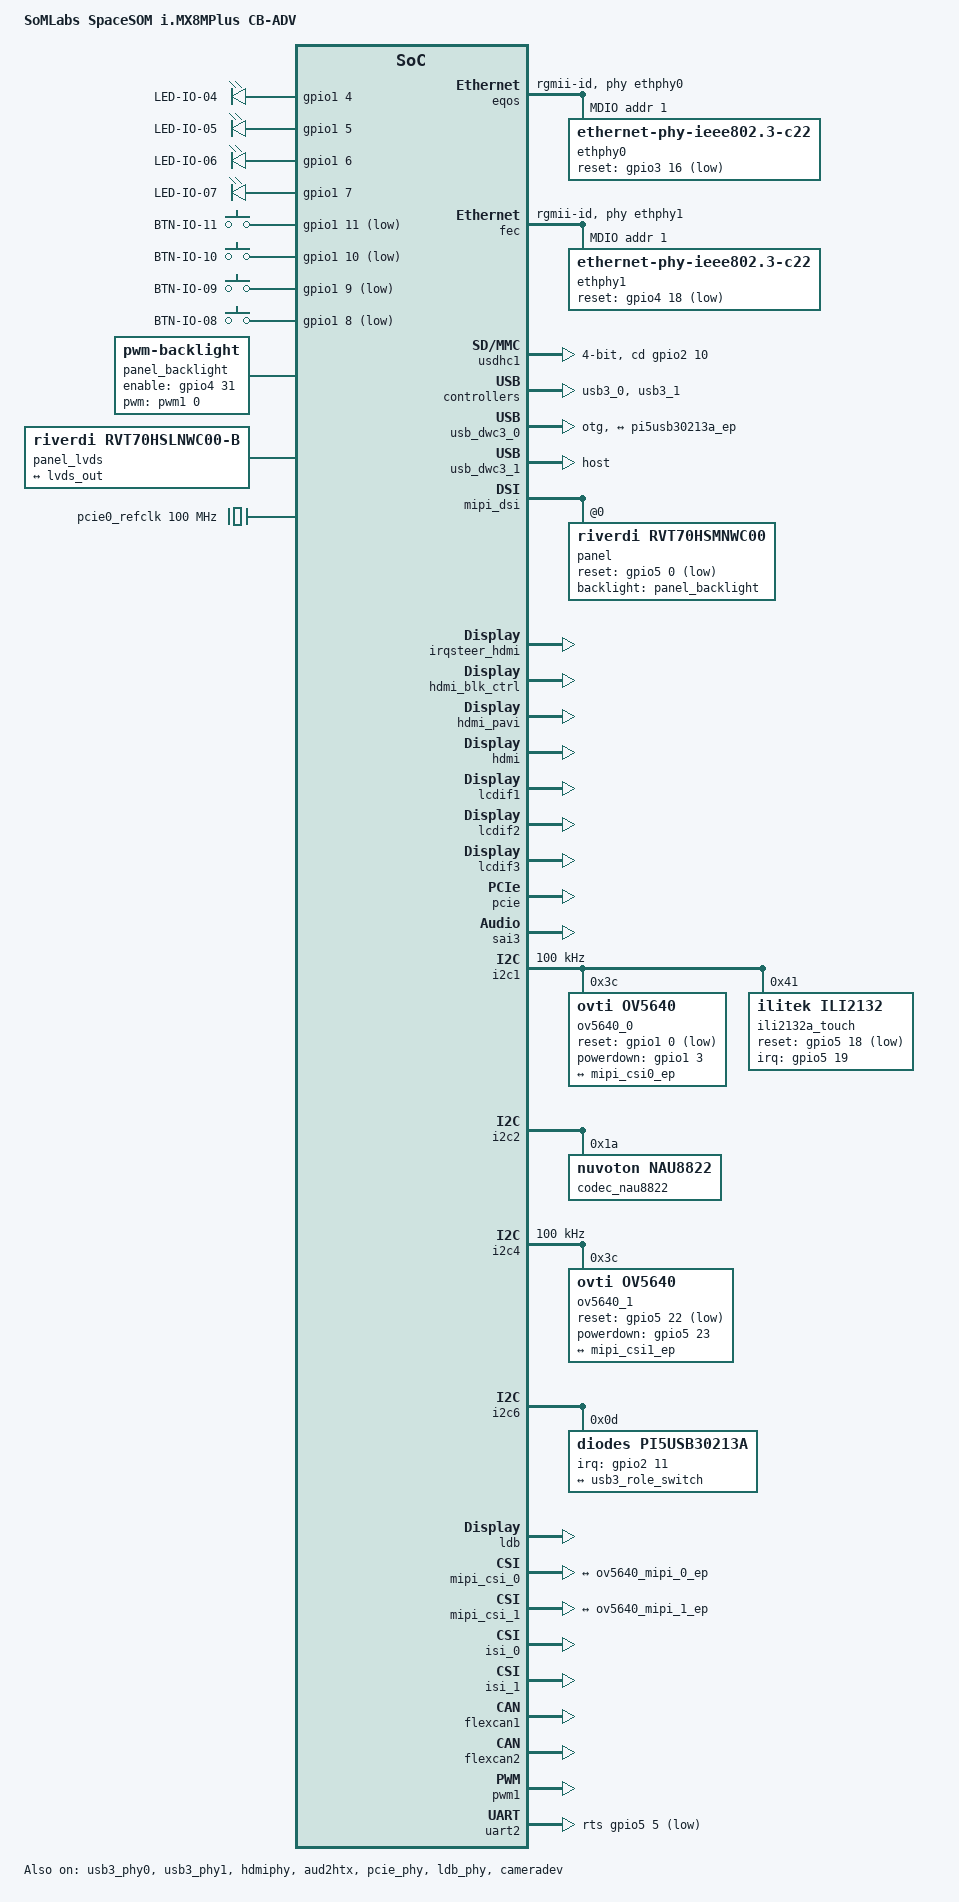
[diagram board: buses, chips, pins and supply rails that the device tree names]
// SPDX-License-Identifier: (GPL-2.0+ OR MIT)
/*
 * Copyright 2022 SomLabs
 *
 */

#include <dt-bindings/phy/phy-imx8-pcie.h>
#include <dt-bindings/pwm/pwm.h>

#include "spacesom-8mplus.dtsi"

/ {
        model = "SoMLabs SpaceSOM i.MX8MPlus CB-ADV";

        leds {
                pinctrl-0 = <&pinctrl_gpio_leds_cb>;

                led-io-04 {
                        label = "LED-IO-04";
                        gpios = <&gpio1 4 0>;
                        default-state = "off";
                };
                led-io-05 {
                        label = "LED-IO-05";
                        gpios = <&gpio1 5 0>;
                        default-state = "off";
                };
                led-io-06 {
                        label = "LED-IO-06";
                        gpios = <&gpio1 6 0>;
                        default-state = "off";
                };
                led-io-07 {
                        label = "LED-IO-07";
                        gpios = <&gpio1 7 0>;
                        default-state = "off";
                };
        };

        gpio_buttons: gpio_buttons0 {
                compatible = "gpio-keys";
                pinctrl-names = "default";
                pinctrl-0 = <&pinctrl_gpio_buttons_cb>;
                #address-cells = <1>;
                #size-cells = <0>;

                switch1 {
                        label = "BTN-IO-11";
                        linux,code = <0x100>;
                        gpios = <&gpio1 11 GPIO_ACTIVE_LOW>;
                };

                switch2 {
                        label = "BTN-IO-10";
                        linux,code = <0x101>;
                        gpios = <&gpio1 10 GPIO_ACTIVE_LOW>;
                };

                switch3 {
                        label = "BTN-IO-09";
                        linux,code = <0x102>;
                        gpios = <&gpio1 9 GPIO_ACTIVE_LOW>;
                        wakeup-source;
                };

                switch4 {
                        label = "BTN-IO-08";
                        linux,code = <0x103>;
                        gpios = <&gpio1 8 GPIO_ACTIVE_LOW>;
                };
        };

        panel_backlight: panel-backlight {
                compatible = "pwm-backlight";
                pinctrl-names = "default";
                pinctrl-0 = <&pinctrl_panel_backlight_en>;
                pwms = <&pwm1 0 25000 PWM_POLARITY_INVERTED>;

                brightness-levels = < 0  1  2  3  4  5  6  7  8  9
                                     10 11 12 13 14 15 16 17 18 19
                                     20 21 22 23 24 25 26 27 28 29
                                     30 31 32 33 34 35 36 37 38 39
                                     40 41 42 43 44 45 46 47 48 49
                                     50 51 52 53 54 55 56 57 58 59
                                     60 61 62 63 64 65 66 67 68 69
                                     70 71 72 73 74 75 76 77 78 79
                                     80 81 82 83 84 85 86 87 88 89
                                     90 91 92 93 94 95 96 97 98 99
                                     100>;
                default-brightness-level = <80>;

                enable-gpios = <&gpio4 31 0>;
        };

        panel_lvds {
                compatible = "riverdi,rvt70hslnwc00-b";
                port {
                        panel_lvds_in: endpoint {
                                remote-endpoint = <&lvds_out>;
                        };
                };
        };

        sound {
                /* generic sound card */
                compatible = "simple-audio-card";
                simple-audio-card,name = "nau8822";

                simple-audio-card,widgets =
                        "Headphones", "Headphones",
                        "Line Out", "Line Out",
                        "Speaker", "Speaker",
                        "Microphone", "Mic In";
                simple-audio-card,routing =
                        "Headphones", "LHP",
                        "Headphones", "RHP",
                        "Speaker", "LSPK",
                        "Speaker", "RSPK",
                        "Line Out", "AUXOUT1",
                        "Line Out", "AUXOUT2",
                        "LMICP",    "Mic In",
                        "RMICP",    "Mic In";

                simple-audio-card,format = "i2s";
                simple-audio-card,bitclock-master = <&dailink_master>;
                simple-audio-card,frame-master = <&dailink_master>;

                simple-audio-card,cpu {
                        sound-dai = <&sai3>;
                };

                dailink_master: simple-audio-card,codec {
                        sound-dai = <&codec_nau8822>;
                        clocks = <&audio_blk_ctrl IMX8MP_CLK_AUDIO_BLK_CTRL_SAI3_MCLK1>;
                        clock-names = "mclk";
                };
        };

        sound-hdmi {
                compatible = "fsl,imx-audio-cdnhdmi";
                model = "audio-hdmi";
                audio-cpu = <&aud2htx>;
                hdmi-out;
                constraint-rate = <44100>,
                                <88200>,
                                <176400>,
                                <32000>,
                                <48000>,
                                <96000>,
                                <192000>;
                status = "okay";
        };

        pcie0_refclk: pcie0-refclk {
                compatible = "fixed-clock";
                #clock-cells = <0>;
                clock-frequency = <100000000>;
        };
};

&eqos {
        pinctrl-names = "default";
        pinctrl-0 = <&pinctrl_eqos>;
        phy-int-gpios = <&gpio4 20 GPIO_ACTIVE_LOW>; /* GPIO4_20 */
        phy-mode = "rgmii-id";
        phy-handle = <&ethphy0>;
        snps,force_thresh_dma_mode;
        snps,mtl-tx-config = <&mtl_tx_setup>;
        snps,mtl-rx-config = <&mtl_rx_setup>;
        status = "okay";

        mdio {
                compatible = "snps,dwmac-mdio";
                #address-cells = <1>;
                #size-cells = <0>;

                ethphy0: ethernet-phy@1 {
                        compatible = "ethernet-phy-ieee802.3-c22";
                        reg = <1>;
                        eee-broken-1000t;
                        reset-gpios = <&gpio3 16 GPIO_ACTIVE_LOW>;
                        reset-assert-us = <10000>;
                        reset-deassert-us = <80000>;
                        realtek,clkout-disable;
                };
        };

        mtl_tx_setup: tx-queues-config {
                snps,tx-queues-to-use = <5>;
                snps,tx-sched-sp;
                queue0 {
                        snps,dcb-algorithm;
                        snps,priority = <0x1>;
                };
                queue1 {
                        snps,dcb-algorithm;
                        snps,priority = <0x2>;
                };
                queue2 {
                        snps,dcb-algorithm;
                        snps,priority = <0x4>;
                };
                queue3 {
                        snps,dcb-algorithm;
                        snps,priority = <0x8>;
                };
                queue4 {
                        snps,dcb-algorithm;
                        snps,priority = <0xf0>;
                };
        };

        mtl_rx_setup: rx-queues-config {
                snps,rx-queues-to-use = <5>;
                snps,rx-sched-sp;
                queue0 {
                        snps,dcb-algorithm;
                        snps,priority = <0x1>;
                        snps,map-to-dma-channel = <0>;
                };
                queue1 {
                        snps,dcb-algorithm;
                        snps,priority = <0x2>;
                        snps,map-to-dma-channel = <1>;
                };
                queue2 {
                        snps,dcb-algorithm;
                        snps,priority = <0x4>;
                        snps,map-to-dma-channel = <2>;
                };
                queue3 {
                        snps,dcb-algorithm;
                        snps,priority = <0x8>;
                        snps,map-to-dma-channel = <3>;
                };
                queue4 {
                        snps,dcb-algorithm;
                        snps,priority = <0xf0>;
                        snps,map-to-dma-channel = <4>;
                };
        };
};

&fec {
        pinctrl-names = "default";
        pinctrl-0 = <&pinctrl_fec>;
        phy-int-gpios = <&gpio4 19 GPIO_ACTIVE_LOW>; /* GPIO4_19 */
        phy-mode = "rgmii-id";
        phy-handle = <&ethphy1>;
        fsl,magic-packet;
        status = "okay";

        mdio {
                #address-cells = <1>;
                #size-cells = <0>;

                ethphy1: ethernet-phy@1 {
                        compatible = "ethernet-phy-ieee802.3-c22";
                        reg = <1>;
                        eee-broken-1000t;
                        reset-gpios = <&gpio4 18 GPIO_ACTIVE_LOW>;
                        reset-assert-us = <10000>;
                        reset-deassert-us = <80000>;
                        realtek,aldps-enable;
                        realtek,clkout-disable;
                };
        };
};

&iomuxc {
        pinctrl-names = "default";
        pinctrl-0 = <&pinctrl_hog>;

        pinctrl_hog: hoggrp {
                fsl,pins = <
                        MX8MP_IOMUXC_HDMI_DDC_SCL__HDMIMIX_HDMI_SCL     0x400001c3
                        MX8MP_IOMUXC_HDMI_DDC_SDA__HDMIMIX_HDMI_SDA     0x400001c3
                        MX8MP_IOMUXC_HDMI_HPD__HDMIMIX_HDMI_HPD         0x40000019
                        MX8MP_IOMUXC_HDMI_CEC__HDMIMIX_HDMI_CEC         0x40000019
                >;
        };

        pinctrl_gpio_leds_cb: gpioledscb {          /* 4x LEDs on  carrier board */
                fsl,pins = <
                        MX8MP_IOMUXC_GPIO1_IO04__GPIO1_IO04             0x19
                        MX8MP_IOMUXC_GPIO1_IO05__GPIO1_IO05             0x19
                        MX8MP_IOMUXC_GPIO1_IO06__GPIO1_IO06             0x19
                        MX8MP_IOMUXC_GPIO1_IO07__GPIO1_IO07             0x19
                >;
        };

        pinctrl_gpio_buttons_cb: gpiobuttonscb {      /* 4x buttons on  carrier board */
                fsl,pins = <
                        MX8MP_IOMUXC_GPIO1_IO08__GPIO1_IO08             0x1c0
                        MX8MP_IOMUXC_GPIO1_IO09__GPIO1_IO09             0x1c0
                        MX8MP_IOMUXC_GPIO1_IO10__GPIO1_IO10             0x1c0
                        MX8MP_IOMUXC_GPIO1_IO11__GPIO1_IO11             0x1c0
                >;
        };

        pinctrl_panel_backlight_en: panel_backlight_en {
                fsl,pins = <
                        MX8MP_IOMUXC_SAI3_TXFS__GPIO4_IO31              0x19
                >;
        };

        pinctrl_panel_backlight_pwm: panel_backlight_pwm {
                fsl,pins = <
                        MX8MP_IOMUXC_GPIO1_IO01__PWM1_OUT               0x19
                >;
        };

        pinctrl_panel_reset: panel_reset {
                fsl,pins = <
                        MX8MP_IOMUXC_SAI3_TXC__GPIO5_IO00               0x19
                >;
        };

        pinctrl_csi0: csi0_grp {
                fsl,pins = <
                        MX8MP_IOMUXC_GPIO1_IO00__GPIO1_IO00             0x19
                        MX8MP_IOMUXC_GPIO1_IO03__GPIO1_IO03             0x19
                >;
        };

        pinctrl_csi1: csi1_grp {
                fsl,pins = <
                        MX8MP_IOMUXC_UART1_RXD__GPIO5_IO22              0x19
                        MX8MP_IOMUXC_UART1_TXD__GPIO5_IO23              0x19
                >;
        };

        pinctrl_eqos: eqosgrp {
                fsl,pins = <
                        MX8MP_IOMUXC_ENET_MDC__ENET_QOS_MDC                             0x3
                        MX8MP_IOMUXC_ENET_MDIO__ENET_QOS_MDIO                           0x3
                        MX8MP_IOMUXC_ENET_RD0__ENET_QOS_RGMII_RD0                       0x91
                        MX8MP_IOMUXC_ENET_RD1__ENET_QOS_RGMII_RD1                       0x91
                        MX8MP_IOMUXC_ENET_RD2__ENET_QOS_RGMII_RD2                       0x91
                        MX8MP_IOMUXC_ENET_RD3__ENET_QOS_RGMII_RD3                       0x91
                        MX8MP_IOMUXC_ENET_RXC__CCM_ENET_QOS_CLOCK_GENERATE_RX_CLK       0x91
                        MX8MP_IOMUXC_ENET_RX_CTL__ENET_QOS_RGMII_RX_CTL                 0x91
                        MX8MP_IOMUXC_ENET_TD0__ENET_QOS_RGMII_TD0                       0x1f
                        MX8MP_IOMUXC_ENET_TD1__ENET_QOS_RGMII_TD1                       0x1f
                        MX8MP_IOMUXC_ENET_TD2__ENET_QOS_RGMII_TD2                       0x1f
                        MX8MP_IOMUXC_ENET_TD3__ENET_QOS_RGMII_TD3                       0x1f
                        MX8MP_IOMUXC_ENET_TX_CTL__ENET_QOS_RGMII_TX_CTL                 0x1f
                        MX8MP_IOMUXC_ENET_TXC__CCM_ENET_QOS_CLOCK_GENERATE_TX_CLK       0x1f
                        MX8MP_IOMUXC_NAND_READY_B__GPIO3_IO16                           0x19    /* phy reset */
                        MX8MP_IOMUXC_SAI1_MCLK__GPIO4_IO20                              0x41    /* phy int */
                >;
        };

        pinctrl_fec: fecgrp {
                fsl,pins = <
                        MX8MP_IOMUXC_SAI1_RXD2__ENET1_MDC               0x3
                        MX8MP_IOMUXC_SAI1_RXD3__ENET1_MDIO              0x3
                        MX8MP_IOMUXC_SAI1_RXD4__ENET1_RGMII_RD0         0x91
                        MX8MP_IOMUXC_SAI1_RXD5__ENET1_RGMII_RD1         0x91
                        MX8MP_IOMUXC_SAI1_RXD6__ENET1_RGMII_RD2         0x91
                        MX8MP_IOMUXC_SAI1_RXD7__ENET1_RGMII_RD3         0x91
                        MX8MP_IOMUXC_SAI1_TXC__ENET1_RGMII_RXC          0x91
                        MX8MP_IOMUXC_SAI1_TXFS__ENET1_RGMII_RX_CTL      0x91
                        MX8MP_IOMUXC_SAI1_TXD0__ENET1_RGMII_TD0         0x1f
                        MX8MP_IOMUXC_SAI1_TXD1__ENET1_RGMII_TD1         0x1f
                        MX8MP_IOMUXC_SAI1_TXD2__ENET1_RGMII_TD2         0x1f
                        MX8MP_IOMUXC_SAI1_TXD3__ENET1_RGMII_TD3         0x1f
                        MX8MP_IOMUXC_SAI1_TXD4__ENET1_RGMII_TX_CTL      0x1f
                        MX8MP_IOMUXC_SAI1_TXD5__ENET1_RGMII_TXC         0x1f
                        MX8MP_IOMUXC_SAI1_TXD6__GPIO4_IO18              0x19    /* phy reset */
                        MX8MP_IOMUXC_SAI1_TXD7__GPIO4_IO19              0x41    /* phy int */
                >;
        };

        pinctrl_fec_1588: fec1588grp {
                fsl,pins = <
                        MX8MP_IOMUXC_SAI1_RXFS__ENET1_1588_EVENT0_IN    0x91
                        MX8MP_IOMUXC_SAI1_RXC__ENET1_1588_EVENT0_OUT    0x1f
                        MX8MP_IOMUXC_SAI1_RXD0__ENET1_1588_EVENT1_IN    0x91
                        MX8MP_IOMUXC_SAI1_RXD1__ENET1_1588_EVENT1_OUT   0x1f
                >;
        };

        pinctrl_touch: touch_grp {
                fsl,pins = <
                        MX8MP_IOMUXC_I2C3_SCL__GPIO5_IO18               0x19
                        MX8MP_IOMUXC_I2C3_SDA__GPIO5_IO19               0x1c0
                >;
        };

        pinctrl_sai3: sai3grp {
                fsl,pins = <
                        MX8MP_IOMUXC_SAI3_RXFS__AUDIOMIX_SAI3_RX_SYNC	0xd6
                        MX8MP_IOMUXC_SAI3_RXC__AUDIOMIX_SAI3_RX_BCLK	0xd6
                        MX8MP_IOMUXC_SAI3_RXD__AUDIOMIX_SAI3_RX_DATA00	0xd6
                        MX8MP_IOMUXC_SAI3_TXD__AUDIOMIX_SAI3_TX_DATA00	0xd6
                        MX8MP_IOMUXC_SAI3_MCLK__AUDIOMIX_SAI3_MCLK	0xd6
                >;
        };

        pinctrl_usdhc1_gpio: usdhc1gpiogrp {
                fsl,pins = <
                        MX8MP_IOMUXC_SD1_RESET_B__GPIO2_IO10            0x1c4
                >;
        };

        pinctrl_usdhc1: usdhc1grp {
                fsl,pins = <
                        MX8MP_IOMUXC_SD1_CLK__USDHC1_CLK                0x190
                        MX8MP_IOMUXC_SD1_CMD__USDHC1_CMD                0x1d0
                        MX8MP_IOMUXC_SD1_DATA0__USDHC1_DATA0            0x1d0
                        MX8MP_IOMUXC_SD1_DATA1__USDHC1_DATA1            0x1d0
                        MX8MP_IOMUXC_SD1_DATA2__USDHC1_DATA2            0x1d0
                        MX8MP_IOMUXC_SD1_DATA3__USDHC1_DATA3            0x1d0
                >;
        };

        pinctrl_uart2_rts: uart2rtsgrp {
                fsl,pins = <
                        MX8MP_IOMUXC_SPDIF_EXT_CLK__GPIO5_IO05          0x19
                >;
        };

        pinctrl_typec: typec1grp {
                fsl,pins = <
                        MX8MP_IOMUXC_SD1_STROBE__GPIO2_IO11             0x1c4
                >;
        };

};

&usdhc1 {
        assigned-clocks = <&clk IMX8MP_CLK_USDHC1>;
        assigned-clock-rates = <400000000>;
        pinctrl-names = "default";
        pinctrl-0 = <&pinctrl_usdhc1>, <&pinctrl_usdhc1_gpio>;
        cd-gpios = <&gpio2 10 GPIO_ACTIVE_HIGH>;
        no-1-8-v;
        bus-width = <4>;
        fsl,delay-line = <8>;
        status = "okay";
};

&usb3_phy0 {
        fsl,phy-tx-vref-tune = <0xe>;
        fsl,phy-tx-preemp-amp-tune = <3>;
        fsl,phy-tx-vboost-level = <5>;
        fsl,phy-comp-dis-tune = <7>;
        fsl,pcs-tx-deemph-3p5db = <0x21>;
        fsl,phy-pcs-tx-swing-full = <0x7f>;
        status = "okay";
};

&usb3_0 {
        status = "okay";
};

&usb_dwc3_0 {
        pinctrl-names = "default";
        pinctrl-0 = <&pinctrl_usb0_vbus>;
        dr_mode = "otg";
        hnp-disable;
        srp-disable;
        adp-disable;
        usb-role-switch;
//      role-switch-default-mode = "none";
        status = "okay";

        port {
                usb3_role_switch: endpoint {
                        remote-endpoint = <&pi5usb30213a_ep>;
                };
        };
};

&usb3_phy1 {
        fsl,phy-tx-preemp-amp-tune = <3>;
        fsl,phy-tx-vref-tune = <0xb>;
        status = "okay";
};

&usb3_1 {
        status = "okay";
};

&usb_dwc3_1 {
        pinctrl-names = "default";
        pinctrl-0 = <&pinctrl_usb1_vbus>;
        dr_mode = "host";
        status = "okay";
};

&mipi_dsi {
        status = "okay";

        panel@0 {
                compatible = "riverdi,rvt70hsmnwc00";
                reg = <0>;
                pinctrl-names = "default";
                pinctrl-0 = <&pinctrl_panel_reset>;
                reset-gpios = <&gpio5 0 GPIO_ACTIVE_LOW>;
                backlight = <&panel_backlight>;
                status = "okay";
    };
};

&irqsteer_hdmi {
        status = "okay";
};

&hdmi_blk_ctrl {
        status = "okay";
};

&hdmi_pavi {
        status = "okay";
};

&hdmi {
        status = "okay";
};

&hdmiphy {
        status = "okay";
};

&aud2htx {
	status = "okay";
};

&lcdif1 {
        status = "okay";
};

&lcdif2 {
        status = "okay";
};

&lcdif3 {
        status = "okay";

        thres-low  = <1 2>;             /* (FIFO * 1 / 2) */
        thres-high = <3 4>;             /* (FIFO * 3 / 4) */
};

&pcie{
        clocks = <&clk IMX8MP_CLK_HSIO_ROOT>,
                 <&clk IMX8MP_CLK_PCIE_ROOT>,
                 <&clk IMX8MP_CLK_HSIO_AXI>;
        clock-names = "pcie", "pcie_aux", "pcie_bus";
        assigned-clocks = <&clk IMX8MP_CLK_PCIE_AUX>;
        assigned-clock-rates = <10000000>;
        assigned-clock-parents = <&clk IMX8MP_SYS_PLL2_50M>;
        status = "okay";
};

&pcie_phy {
        fsl,refclk-pad-mode = <IMX8_PCIE_REFCLK_PAD_OUTPUT>;
        clocks = <&hsio_blk_ctrl>;
        clock-names = "ref";
        status = "okay";
};

&sai3 {
        pinctrl-names = "default";
        pinctrl-0 = <&pinctrl_sai3>;
        assigned-clock-rates = <12288000>;
        fsl,sai-synchronous-rx;
        fsl,sai-mclk-direction-output;
        #sound-dai-cells = <0>;
        status = "okay";
};

&i2c1 {
        clock-frequency = <100000>;
        status = "okay";

        ov5640_0: ov5640_mipi@3c {
                compatible = "ovti,ov5640";
                reg = <0x3c>;
                pinctrl-names = "default";
                pinctrl-0 = <&pinctrl_csi0>;
                clocks = <&clk IMX8MP_CLK_IPP_DO_CLKO2>;
                clock-names = "xclk";
                assigned-clocks = <&clk IMX8MP_CLK_IPP_DO_CLKO2>;
                assigned-clock-parents = <&clk IMX8MP_CLK_24M>;
                assigned-clock-rates = <24000000>;
                csi_id = <0>;
                reset-gpios = <&gpio1 0 GPIO_ACTIVE_LOW>;
                powerdown-gpios = <&gpio1 3 GPIO_ACTIVE_HIGH>;
                mclk = <24000000>;
                mclk_source = <0>;
                mipi_csi;
                status = "okay";

                port {
                        ov5640_mipi_0_ep: endpoint {
                                remote-endpoint = <&mipi_csi0_ep>;
                                data-lanes = <1 2>;
                                clock-lanes = <0>;
                        };
                };
        };

        ili2132a_touch: ili2132a@41 {
                compatible = "ilitek,ili2132";
                reg = <0x41>;
                pinctrl-names = "default";
                pinctrl-0 = <&pinctrl_touch>;
                interrupt-parent = <&gpio5>;
                interrupts = <19 IRQ_TYPE_EDGE_FALLING>;
                reset-gpios = <&gpio5 18 GPIO_ACTIVE_LOW>;
        };
};

&i2c2 {
        status = "okay";
        codec_nau8822: nau8822@1a {
                compatible = "nuvoton,nau8822";
                reg = <0x1a>;
		clocks = <&audio_blk_ctrl IMX8MP_CLK_AUDIO_BLK_CTRL_SAI3_MCLK1>;
		clock-names = "mclk";
                #sound-dai-cells = <0>;
                status = "okay";
        };
};

&i2c4 {
        clock-frequency = <100000>;
        status = "okay";

        ov5640_1: ov5640_mipi@3c {
                compatible = "ovti,ov5640";
                reg = <0x3c>;
                pinctrl-names = "default";
                pinctrl-0 = <&pinctrl_csi1>;
                clocks = <&clk IMX8MP_CLK_IPP_DO_CLKO2>;
                clock-names = "xclk";
                assigned-clocks = <&clk IMX8MP_CLK_IPP_DO_CLKO2>;
                assigned-clock-parents = <&clk IMX8MP_CLK_24M>;
                assigned-clock-rates = <24000000>;
                csi_id = <1>;
                reset-gpios = <&gpio5 22 GPIO_ACTIVE_LOW>;
                powerdown-gpios = <&gpio5 23 GPIO_ACTIVE_HIGH>;
                mclk = <24000000>;
                mclk_source = <0>;
                mipi_csi;
                status = "okay";

                port {
                        ov5640_mipi_1_ep: endpoint {
                                remote-endpoint = <&mipi_csi1_ep>;
                                data-lanes = <1 2>;
                                clock-lanes = <0>;
                        };
                };
        };
};

&i2c6 {

        pi5usb30213a: tcpc@d {
                compatible = "diodes,pi5usb30213a";
                pinctrl-names = "default";
                pinctrl-0 = <&pinctrl_typec>;
                reg = <0x0d>;
                interrupt-parent = <&gpio2>;
                interrupts = <11 IRQ_TYPE_LEVEL_LOW>;

                connector {
                        compatible = "usb-c-connector";
                        label = "USB-C";
                        power-role = "dual";
                        data-role = "dual";
                        self-powered;
                        ports {
                                #address-cells = <1>;
                                #size-cells = <0>;

                                port@1 {
                                        reg = <1>;
                                        pi5usb30213a_ep: endpoint {
                                                remote-endpoint = <&usb3_role_switch>;
                                        };
                                };
                        };
                };
        };
};

&ldb {
        status = "okay";

        lvds-channel@0 {
                fsl,data-mapping = "spwg";
                fsl,data-width = <24>;
                status = "okay";

                port@1 {
                        reg = <1>;
                        lvds_out: endpoint {
                                remote-endpoint = <&panel_lvds_in>;
                        };
                };
        };
};

&ldb_phy {
        status = "okay";
};

&mipi_csi_0 {
        #address-cells = <1>;
        #size-cells = <0>;
        status = "okay";

        port@0 {
                reg = <0>;
                mipi_csi0_ep: endpoint {
                        remote-endpoint = <&ov5640_mipi_0_ep>;
                        data-lanes = <2>;
                        csis-hs-settle = <13>;
                        csis-clk-settle = <2>;
                        csis-wclk;
                };
        };
};

&mipi_csi_1 {
        #address-cells = <1>;
        #size-cells = <0>;
        status = "okay";

        port@1 {
                reg = <1>;
                mipi_csi1_ep: endpoint {
                        remote-endpoint = <&ov5640_mipi_1_ep>;
                        data-lanes = <2>;
                        csis-hs-settle = <13>;
                        csis-clk-settle = <2>;
                        csis-wclk;
                        swap-clk;
                        swap-data;
                };
        };
};

&cameradev {
        status = "okay";
};

&isi_0 {
        status = "okay";

        cap_device {
                status = "okay";
        };

        m2m_device {
                status = "okay";
        };
};

&isi_1 {
        status = "okay";

        cap_device {
                status = "okay";
        };
};

&flexcan1 {
        status = "okay";
};

&flexcan2 {
        status = "okay";
};

&pwm1 {
    pinctrl-names = "default";
    pinctrl-0 = <&pinctrl_panel_backlight_pwm>;
    status = "okay";
};

&uart2 {
    pinctrl-0 = <&pinctrl_uart2 &pinctrl_uart2_rts>;
    rts-gpios = <&gpio5 5 GPIO_ACTIVE_LOW>;
    linux,rs485-enabled-at-boot-time;
    status = "okay";
};
